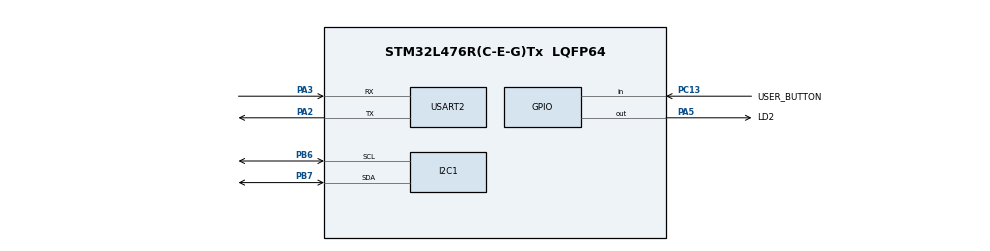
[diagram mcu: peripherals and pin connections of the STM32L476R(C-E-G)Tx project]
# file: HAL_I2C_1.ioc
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I2C1.Timing=0x00100D14
Mcu.Family=STM32L4
Mcu.Name=STM32L476R(C-E-G)Tx
Mcu.Package=LQFP64
NVIC.PriorityGroup=NVIC_PRIORITYGROUP_4
PA2.Mode=Asynchronous
PA2.Signal=USART2_TX
PA3.Mode=Asynchronous
PA3.Signal=USART2_RX
PA5.GPIO_Label=LD2
PA5.Signal=GPIO_Output
PB6.Mode=I2C
PB6.Signal=I2C1_SCL
PB7.Mode=I2C
PB7.Signal=I2C1_SDA
PC13.GPIO_Label=USER_BUTTON
PC13.Signal=GPIO_Input
ProjectManager.HeapSize=0x200
ProjectManager.StackSize=0x400
ProjectManager.TargetToolchain=STM32CubeIDE
RCC.HSE_VALUE=8000000
RCC.HSI_VALUE=16000000
RCC.LSE_VALUE=32768
RCC.MSI_VALUE=4000000
RCC.VCOOutputFreq_Value=32000000
USART2.VirtualMode-Asynchronous=VM_ASYNC
board=custom

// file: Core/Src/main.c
/* USER CODE BEGIN Header */
/**
  ******************************************************************************
  * @file           : main.c
  * @brief          : Main program body
  ******************************************************************************
  * @attention
  *
  * Copyright (c) 2024 STMicroelectronics.
  * All rights reserved.
  *
  * This software is licensed under terms that can be found in the LICENSE file
  * in the root directory of this software component.
  * If no LICENSE file comes with this software, it is provided AS-IS.
  *
  ******************************************************************************
  */
/* USER CODE END Header */
#include "main.h"
#include "i2c.h"
#include "usart.h"
#include "gpio.h"

/* USER CODE BEGIN Includes */

#include <stdbool.h>
#include <stdio.h>
#include "LPS25HB.h"
#include "Button.h"

#define LPS25HB_ADD        0xBA

#define LPS25HB_WHO_AM_I 		0x0F
#define LPS25HB_CTRL_REG1 		0x20
#define LPS25HB_CTRL_REG2 		0x21
#define LPS25HB_CTRL_REG3 		0x22
#define LPS25HB_CTRL_REG4 		0x23
#define LPS25HB_PRESS_OUT_XL 	0x28
#define LPS25HB_PRESS_OUT_L 	0x29
#define LPS25HB_PRESS_OUT_H 	0x2A
#define LPS25HB_TEMP_OUT_L 		0x2B
#define LPS25HB_TEMP_OUT_H 		0x2C

/* USER CODE END Includes */

void SystemClock_Config(void);

/* USER CODE BEGIN 0 */
int __io_putchar(int ch);
/* USER CODE END 0 */

int main(void)
{

  /* MCU Configuration--------------------------------------------------------*/

  /* Reset of all peripherals, Initializes the Flash interface and the Systick. */
  HAL_Init();

  /* Configure the system clock */
  SystemClock_Config();

  /* Initialize all configured peripherals */
  MX_GPIO_Init();
  MX_I2C1_Init();
  MX_USART2_UART_Init();
  /* USER CODE BEGIN 2 */

  printf("Searching...\n");
  if (lps25hb_init() == HAL_OK) {
    printf("OK: LPS25HB\n");

  } else {
    printf("Error: LPS25HB not found\n");
    Error_Handler();
  }
  uint8_t test = 0x5A;
  /* USER CODE END 2 */

  /* Infinite loop */
  /* USER CODE BEGIN WHILE */
  while (1)
  {

	  printf ("temp: %.2f *C \n", lps25hb_read_temp());
	  printf("pressure: %.2f hPa   \n", lps25hb_read_pressure());
	  printf ("temp: %.2f K \n", 273.15f + lps25hb_read_temp());

	  printf ("height: %.2f m\n",lps25hb_height(lps25hb_read_temp(), lps25hb_read_pressure()));
	  printf ("reference pressure %.2f hPa\n", lps25hb_autozero());
	  printf ("\n");

	  printf ("test_1:%u\n", test);
	  if (Status_Button(USER_BUTTON_GPIO_Port, USER_BUTTON_Pin) == Press)
	  {
		  if (EEPROM_WRITE(0x10, &test, sizeof(test)) != HAL_OK)
	  {
		  Error_Handler();
	  }
	  }
	  uint8_t result = 0;
	  while (EEPROM_READ(0x10, &result, sizeof(result)) != HAL_OK)
	    {}
	  printf ("test_2: %u\n", test);
	  printf ("result %u\n", result);
	  printf("\n");

	  HAL_Delay(1000);
	 // lps25hb_cllbrtn(-114);
    /* USER CODE END WHILE */

  }
}

void SystemClock_Config(void)
{
  RCC_OscInitTypeDef RCC_OscInitStruct = {0};
  RCC_ClkInitTypeDef RCC_ClkInitStruct = {0};

  /** Configure the main internal regulator output voltage
  */
  if (HAL_PWREx_ControlVoltageScaling(PWR_REGULATOR_VOLTAGE_SCALE1) != HAL_OK)
  {
    Error_Handler();
  }

  /** Initializes the RCC Oscillators according to the specified parameters
  * in the RCC_OscInitTypeDef structure.
  */
  RCC_OscInitStruct.OscillatorType = RCC_OSCILLATORTYPE_MSI;
  RCC_OscInitStruct.MSIState = RCC_MSI_ON;
  RCC_OscInitStruct.MSICalibrationValue = 0;
  RCC_OscInitStruct.MSIClockRange = RCC_MSIRANGE_6;
  RCC_OscInitStruct.PLL.PLLState = RCC_PLL_NONE;
  if (HAL_RCC_OscConfig(&RCC_OscInitStruct) != HAL_OK)
  {
    Error_Handler();
  }

  /** Initializes the CPU, AHB and APB buses clocks
  */
  RCC_ClkInitStruct.ClockType = RCC_CLOCKTYPE_HCLK|RCC_CLOCKTYPE_SYSCLK
                              |RCC_CLOCKTYPE_PCLK1|RCC_CLOCKTYPE_PCLK2;
  RCC_ClkInitStruct.SYSCLKSource = RCC_SYSCLKSOURCE_MSI;
  RCC_ClkInitStruct.AHBCLKDivider = RCC_SYSCLK_DIV1;
  RCC_ClkInitStruct.APB1CLKDivider = RCC_HCLK_DIV1;
  RCC_ClkInitStruct.APB2CLKDivider = RCC_HCLK_DIV1;

  if (HAL_RCC_ClockConfig(&RCC_ClkInitStruct, FLASH_LATENCY_0) != HAL_OK)
  {
    Error_Handler();
  }
}

/* USER CODE BEGIN 4 */

int __io_putchar(int ch)
{
  if (ch == '\n') {
    __io_putchar('\r');
  }

  HAL_UART_Transmit(&huart2, (uint8_t*)&ch, 1, HAL_MAX_DELAY);

  return 1;
}

/* USER CODE END 4 */

void Error_Handler(void)
{
  __disable_irq();
  while (1)
  {
  }
}
